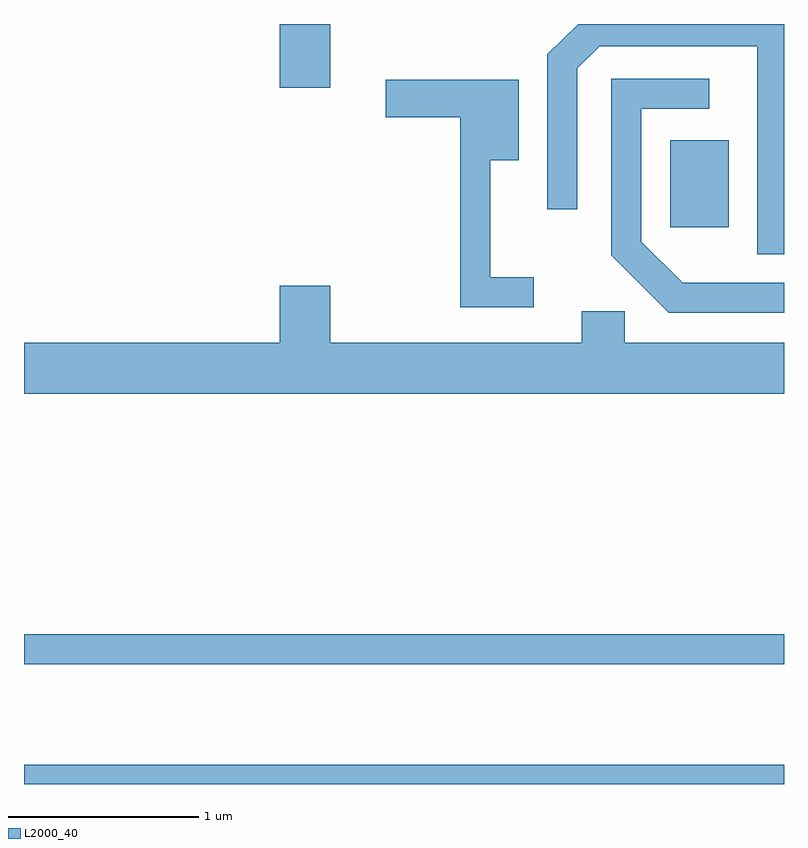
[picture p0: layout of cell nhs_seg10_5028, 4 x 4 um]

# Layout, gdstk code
import gdstk
lib = gdstk.Library(unit=1e-6, precision=1e-09)
def R(c, l, rs):  # rectangles x0, y0, x1, y1
    for r in rs: c.add(gdstk.rectangle(r[:2], r[2:], *l))
def P(c, l, *ps):  # polygons
    for p in ps: c.add(gdstk.Polygon(p, *l))
L2000_40 = (2000, 40)

nhs_seg10_5028 = lib.new_cell('nhs_seg10_5028')
R(nhs_seg10_5028, L2000_40, [(333.611,2118.522,337.611,2118.624), (333.611,2119.151,337.611,2119.309), (337.011,2121.451,337.319,2121.909), (334.956,2122.186,335.224,2122.522)])
P(nhs_seg10_5028, L2000_40, [(337.611,2122.522),(336.527,2122.522),(336.366,2122.362),(336.366,2121.548),(336.524,2121.548),(336.524,2122.289),(336.642,2122.406),(337.471,2122.406),(337.471,2121.311),(337.611,2121.311)],
  [(337.611,2121.159),(337.077,2121.159),(336.859,2121.377),(336.859,2122.076),(337.218,2122.076),(337.218,2122.234),(336.701,2122.234),(336.701,2121.304),(337.004,2121.001),(337.611,2121.001)],
  [(336.293,2121.189),(336.064,2121.189),(336.064,2121.806),(336.214,2121.806),(336.214,2122.229),(335.516,2122.229),(335.516,2122.031),(335.906,2122.031),(335.906,2121.031),(336.293,2121.031)],
  [(337.611,2120.844),(336.774,2120.844),(336.774,2121.009),(336.546,2121.009),(336.546,2120.844),(335.224,2120.844),(335.224,2121.144),(334.956,2121.144),(334.956,2120.844),(333.611,2120.844),(333.611,2120.576),(337.611,2120.576)])

lib.write_gds('nhs_seg10_5028.gds')
